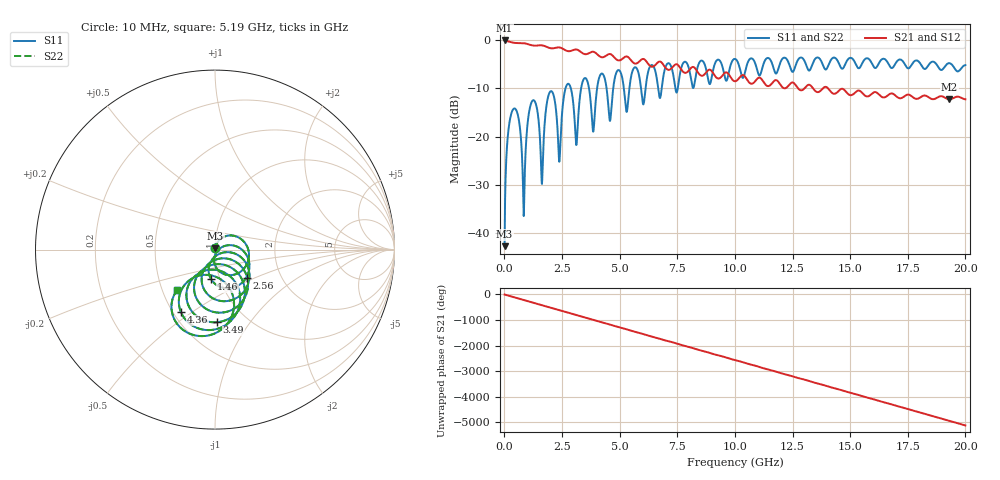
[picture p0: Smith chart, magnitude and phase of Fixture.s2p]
! Touchstone file from project
# GHZ S MA R 50.000000
! Modal data exported
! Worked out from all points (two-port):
!   2000 points, 10 MHz to 20 GHz, reference 50 ohm
!   highest |S21| = -0.04 dB at 10 MHz (marker M1); lowest = -12.3 dB at 19.31 GHz (marker M2)
!   |S21| within 3 dB of the highest: start of sweep to 4.057 GHz; 4.462 GHz to 4.662 GHz (200 MHz wide, 4.38 % of centre)
!   lowest |S11| = -42.8 dB at 10 MHz (marker M3), VSWR 1.01, Z = 50.1 + j0.712 ohm
!   |S11| at or under -10 dB: start of sweep to 2.651 GHz; 2.885 GHz to 3.328 GHz (443.2 MHz wide, 14.3 % of centre); 3.672 GHz to 4.022 GHz (349.3 MHz wide, 9.08 % of centre)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
!   |S22| runs from -42.8 to -3.6 dB; largest |S21 - S12| = 0
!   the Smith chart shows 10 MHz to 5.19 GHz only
!   S11 on the Smith chart (normalised r, x): 10 MHz: 1.00, +0.01; 1.46 GHz: 0.91, -0.31; 2.56 GHz: 1.35, -0.45; 3.49 GHz: 0.73, -0.71; 4.36 GHz: 0.55, -0.45; 5.19 GHz: 0.60, -0.30
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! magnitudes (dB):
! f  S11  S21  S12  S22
! 10 MHz  -42.8  0.0  0.0  -42.8
! 330 MHz  -14.8  -0.4  -0.4  -14.8
! 840 MHz  -36.5  -0.6  -0.6  -36.5
! 1.13 GHz  -13.6  -1.0  -1.0  -13.6
! 1.46 GHz  -15.6  -1.1  -1.1  -15.6
! 1.63 GHz  -29.9  -1.1  -1.1  -29.9
! 1.95 GHz  -11.0  -1.6  -1.6  -11.0
! 2.38 GHz  -25.2  -1.5  -1.5  -25.2
! 2.56 GHz  -12.4  -1.8  -1.8  -12.4
! 2.83 GHz  -9.3  -2.3  -2.3  -9.3
! 3.13 GHz  -21.7  -1.9  -1.9  -21.7
! 3.35 GHz  -9.4  -2.6  -2.6  -9.4
! 3.49 GHz  -7.9  -2.9  -2.9  -7.9
! 3.85 GHz  -19.0  -2.4  -2.4  -19.0
! 4.36 GHz  -8.1  -3.4  -3.4  -8.1
! 5.19 GHz  -10.3  -3.6  -3.6  -10.3
! 6.68 GHz  -10.3  -4.5  -4.5  -10.3
! 10.01 GHz  -3.9  -8.5  -8.5  -3.9
! 13.34 GHz  -5.3  -9.7  -9.7  -5.3
! 16.67 GHz  -5.0  -11.3  -11.3  -5.0
! 19.31 GHz  -4.8  -12.3  -12.3  -4.8
! 20 GHz  -5.2  -12.3  -12.3  -5.2
